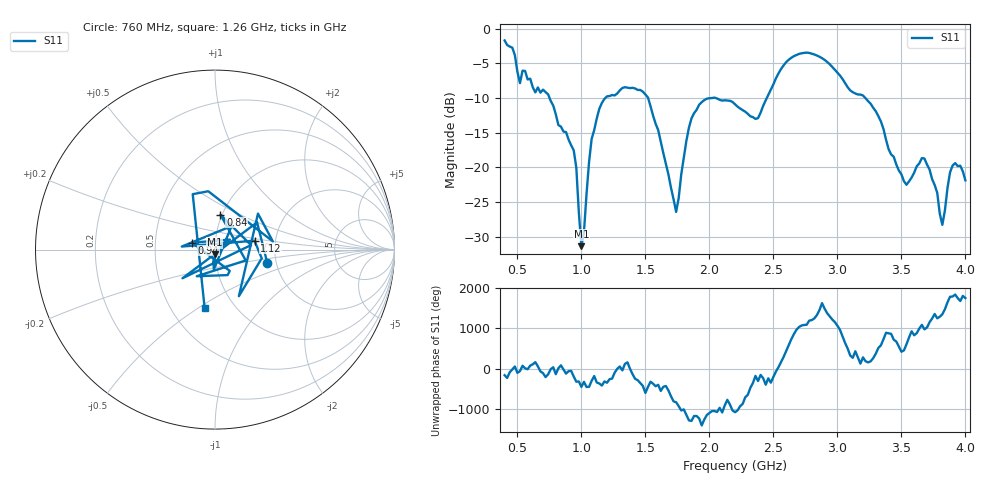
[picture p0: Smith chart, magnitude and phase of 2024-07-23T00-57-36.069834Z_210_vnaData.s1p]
!Created with skrf (http://scikit-rf.org).
# Hz S RI R 50.0
!freq ReS11 ImS11
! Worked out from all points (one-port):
!   181 points, 400 MHz to 4 GHz, reference 50 ohm
!   lowest |S11| = -31.4 dB at 1 GHz (marker M1), VSWR 1.06, Z = 49.7 - j2.68 ohm
!   |S11| at or under -10 dB: 751.4 MHz to 1.186 GHz (434.6 MHz wide, 44.9 % of centre); 1.521 GHz to 2.014 GHz (493 MHz wide, 27.9 % of centre); 3.219 GHz to end of sweep (the widest 3 of 4)
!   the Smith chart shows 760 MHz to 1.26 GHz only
!   S11 on the Smith chart (normalised r, x): 760 MHz: 1.79, -0.30; 840 MHz: 0.98, +0.40; 940 MHz: 0.77, +0.06; 1.12 GHz: 1.55, +0.16; 1.26 GHz: 0.73, -0.53
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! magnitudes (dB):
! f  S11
! 400 MHz  -1.7
! 520 MHz  -7.8
! 560 MHz  -6.1
! 760 MHz  -10.4
! 840 MHz  -14.1
! 860 MHz  -14.8
! 940 MHz  -17.5
! 1 GHz  -31.4
! 1.08 GHz  -15.9
! 1.12 GHz  -12.9
! 1.26 GHz  -9.6
! 1.3 GHz  -8.9
! 1.52 GHz  -9.9
! 1.74 GHz  -26.4
! 1.76 GHz  -24.4
! 1.84 GHz  -14.3
! 1.92 GHz  -11.0
! 2.2 GHz  -10.9
! 2.38 GHz  -12.9
! 2.66 GHz  -3.9
! 2.88 GHz  -4.2
! 3.1 GHz  -8.9
! 3.3 GHz  -11.9
! 3.56 GHz  -22.0
! 3.68 GHz  -18.7
! 3.82 GHz  -28.3
! 3.9 GHz  -19.7
! 4 GHz  -21.9
